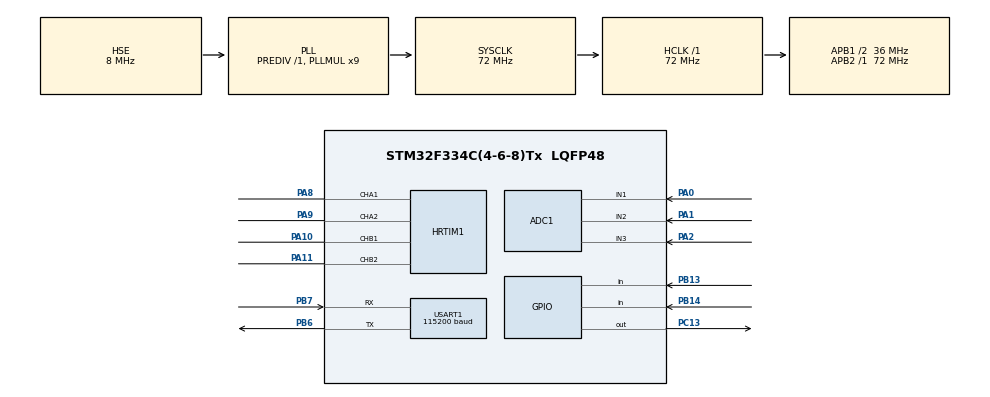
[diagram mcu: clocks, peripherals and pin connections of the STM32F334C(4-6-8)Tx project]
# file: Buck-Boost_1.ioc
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ADC1.Channel-0\#ChannelRegularConversion=ADC_CHANNEL_1
ADC1.Channel-1\#ChannelRegularConversion=ADC_CHANNEL_2
ADC1.Channel-2\#ChannelRegularConversion=ADC_CHANNEL_3
ADC1.ContinuousConvMode=ENABLE
ADC1.DMAContinuousRequests=ENABLE
ADC1.NbrOfConversion=3
ADC1.NbrOfConversionFlag=1
ADC1.Offset-0\#ChannelRegularConversion=0
ADC1.Offset-1\#ChannelRegularConversion=0
ADC1.Offset-2\#ChannelRegularConversion=0
ADC1.OffsetNumber-0\#ChannelRegularConversion=ADC_OFFSET_NONE
ADC1.OffsetNumber-1\#ChannelRegularConversion=ADC_OFFSET_NONE
ADC1.OffsetNumber-2\#ChannelRegularConversion=ADC_OFFSET_NONE
ADC1.Rank-0\#ChannelRegularConversion=1
ADC1.Rank-1\#ChannelRegularConversion=2
ADC1.Rank-2\#ChannelRegularConversion=3
ADC1.SamplingTime-0\#ChannelRegularConversion=ADC_SAMPLETIME_181CYCLES_5
ADC1.SamplingTime-1\#ChannelRegularConversion=ADC_SAMPLETIME_181CYCLES_5
ADC1.SamplingTime-2\#ChannelRegularConversion=ADC_SAMPLETIME_181CYCLES_5
ADC1.SubFamily=STM32F334x8
ADC1.master=1
Dma.ADC1.0.Direction=DMA_PERIPH_TO_MEMORY
Dma.ADC1.0.Instance=DMA1_Channel1
Dma.ADC1.0.MemDataAlignment=DMA_MDATAALIGN_HALFWORD
Dma.ADC1.0.MemInc=DMA_MINC_ENABLE
Dma.ADC1.0.Mode=DMA_CIRCULAR
Dma.ADC1.0.PeriphDataAlignment=DMA_PDATAALIGN_HALFWORD
Dma.ADC1.0.PeriphInc=DMA_PINC_DISABLE
Dma.ADC1.0.Priority=DMA_PRIORITY_LOW
Dma.Request0=ADC1
Dma.Request1=USART1_RX
Dma.Request2=USART1_TX
Dma.USART1_RX.1.Direction=DMA_PERIPH_TO_MEMORY
Dma.USART1_RX.1.Instance=DMA1_Channel5
Dma.USART1_RX.1.MemDataAlignment=DMA_MDATAALIGN_BYTE
Dma.USART1_RX.1.MemInc=DMA_MINC_ENABLE
Dma.USART1_RX.1.Mode=DMA_NORMAL
Dma.USART1_RX.1.PeriphDataAlignment=DMA_PDATAALIGN_BYTE
Dma.USART1_RX.1.PeriphInc=DMA_PINC_DISABLE
Dma.USART1_RX.1.Priority=DMA_PRIORITY_LOW
Dma.USART1_TX.2.Direction=DMA_MEMORY_TO_PERIPH
Dma.USART1_TX.2.Instance=DMA1_Channel4
Dma.USART1_TX.2.MemDataAlignment=DMA_MDATAALIGN_BYTE
Dma.USART1_TX.2.MemInc=DMA_MINC_ENABLE
Dma.USART1_TX.2.Mode=DMA_NORMAL
Dma.USART1_TX.2.PeriphDataAlignment=DMA_PDATAALIGN_BYTE
Dma.USART1_TX.2.PeriphInc=DMA_PINC_DISABLE
Dma.USART1_TX.2.Priority=DMA_PRIORITY_LOW
HRTIM1.CompareUnit1-MasterTimer=HRTIM_COMPAREUNIT_1
HRTIM1.CompareUnit1-Output_TA1TA2=HRTIM_COMPAREUNIT_1
HRTIM1.CompareUnit1-Output_TB1TB2=HRTIM_COMPAREUNIT_1
HRTIM1.CompareUnit2-MasterTimer=__NULL
HRTIM1.CompareUnit2-Output_TB1TB2=__NULL
HRTIM1.CompareUnit3-MasterTimer=__NULL
HRTIM1.CompareValue1-MasterTimer=28800
HRTIM1.CompareValue1-Output_TA1TA2=28800
HRTIM1.CompareValue1-Output_TB1TB2=28800
HRTIM1.DeadTimeInsertion-Output_TA1TA2=HRTIM_TIMDEADTIMEINSERTION_ENABLED
HRTIM1.DeadTimeInsertion-Output_TB1TB2=HRTIM_TIMDEADTIMEINSERTION_ENABLED
HRTIM1.FallingSign-Output_TB1TB2=HRTIM_TIMDEADTIME_FALLINGSIGN_POSITIVE
HRTIM1.FallingValue-Output_TA1TA2=250
HRTIM1.FallingValue-Output_TB1TB2=250
HRTIM1.NumberResetSource1-Output_TA1TA2=1
HRTIM1.NumberResetSource1-Output_TB1TB2=1
HRTIM1.NumberResetTrigger-Output_TA1TA2=1
HRTIM1.NumberResetTrigger-Output_TB1TB2=1
HRTIM1.NumberSetSource1-Output_TA1TA2=1
HRTIM1.NumberSetSource1-Output_TB1TB2=1
HRTIM1.Periode_MASTER=57600
HRTIM1.Periode_TA=57600
HRTIM1.Periode_TB=57600
HRTIM1.Polarity1-Output_TA1TA2=HRTIM_OUTPUTPOLARITY_HIGH
HRTIM1.Polarity1-Output_TB1TB2=HRTIM_OUTPUTPOLARITY_HIGH
HRTIM1.Polarity2-Output_TA1TA2=HRTIM_OUTPUTPOLARITY_HIGH
HRTIM1.Polarity2-Output_TB1TB2=HRTIM_OUTPUTPOLARITY_HIGH
HRTIM1.PreloadEnable-MasterTimer=HRTIM_PRELOAD_ENABLED
HRTIM1.PreloadEnable-Output_TA1TA2=HRTIM_PRELOAD_ENABLED
HRTIM1.PreloadEnable-Output_TB1TB2=HRTIM_PRELOAD_ENABLED
HRTIM1.PrescalerDead-Output_TB1TB2=HRTIM_TIMDEADTIME_PRESCALERRATIO_MUL8
HRTIM1.PrescalerRatio_MASTER=HRTIM_PRESCALERRATIO_MUL16
HRTIM1.PrescalerRatio_TA=HRTIM_PRESCALERRATIO_MUL16
HRTIM1.PrescalerRatio_TB=HRTIM_PRESCALERRATIO_MUL16
HRTIM1.RepetitionUpdate-MasterTimer=HRTIM_UPDATEONREPETITION_ENABLED
HRTIM1.RepetitionUpdate-Output_TA1TA2=HRTIM_UPDATEONREPETITION_ENABLED
HRTIM1.RepetitionUpdate-Output_TB1TB2=HRTIM_UPDATEONREPETITION_ENABLED
HRTIM1.ResetOutput1_Source1-Output_TA1TA2=HRTIM_OUTPUTRESET_TIMCMP1
HRTIM1.ResetOutput1_Source1-Output_TB1TB2=HRTIM_OUTPUTRESET_TIMCMP1
HRTIM1.ResetTrigger1-Output_TA1TA2=HRTIM_TIMRESETTRIGGER_MASTER_PER
HRTIM1.ResetTrigger1-Output_TB1TB2=HRTIM_TIMRESETTRIGGER_MASTER_CMP1
HRTIM1.RisingSign-Output_TB1TB2=HRTIM_TIMDEADTIME_RISINGSIGN_POSITIVE
HRTIM1.RisingValue-Output_TA1TA2=250
HRTIM1.RisingValue-Output_TB1TB2=250
HRTIM1.SetOutput1_Source1-Output_TA1TA2=HRTIM_OUTPUTSET_TIMPER
HRTIM1.SetOutput1_Source1-Output_TB1TB2=HRTIM_OUTPUTSET_TIMPER
Mcu.Family=STM32F3
Mcu.Name=STM32F334C(4-6-8)Tx
Mcu.Package=LQFP48
NVIC.DMA1_Channel1_IRQn=true\:0\:0\:false\:false\:true\:false\:true\:true
NVIC.DMA1_Channel4_IRQn=true\:0\:0\:false\:false\:true\:false\:true\:true
NVIC.DMA1_Channel5_IRQn=true\:0\:0\:false\:false\:true\:false\:true\:true
NVIC.PriorityGroup=NVIC_PRIORITYGROUP_4
NVIC.TIM3_IRQn=true\:0\:0\:false\:false\:true\:true\:true\:true
NVIC.USART1_IRQn=true\:0\:0\:false\:false\:true\:true\:true\:true
PA0.Mode=IN1-Single-Ended
PA0.Signal=ADC1_IN1
PA1.Mode=IN2-Single-Ended
PA1.Signal=ADC1_IN2
PA10.Mode=Output_TB1TB2
PA10.Signal=HRTIM1_CHB1
PA11.Mode=Output_TB1TB2
PA11.Signal=HRTIM1_CHB2
PA13.Mode=Serial_Wire
PA13.Signal=SYS_JTMS-SWDIO
PA14.Mode=Serial_Wire
PA14.Signal=SYS_JTCK-SWCLK
PA2.Mode=IN3-Single-Ended
PA2.Signal=ADC1_IN3
PA8.Mode=Output_TA1TA2
PA8.Signal=HRTIM1_CHA1
PA9.Mode=Output_TA1TA2
PA9.Signal=HRTIM1_CHA2
PB13.GPIO_PuPd=GPIO_PULLUP
PB13.Signal=GPIO_Input
PB14.GPIO_PuPd=GPIO_PULLUP
PB14.Signal=GPIO_Input
PB6.Mode=Asynchronous
PB6.Signal=USART1_TX
PB7.Mode=Asynchronous
PB7.Signal=USART1_RX
PC13.Signal=GPIO_Output
PF0\ /\ OSC_IN.Mode=HSE-External-Oscillator
PF0\ /\ OSC_IN.Signal=RCC_OSC_IN
PF1\ /\ OSC_OUT.Mode=HSE-External-Oscillator
PF1\ /\ OSC_OUT.Signal=RCC_OSC_OUT
ProjectManager.HeapSize=0x200
ProjectManager.StackSize=0x400
ProjectManager.TargetToolchain=MDK-ARM V5.32
RCC.AHBFreq_Value=72000000
RCC.APB1CLKDivider=RCC_HCLK_DIV2
RCC.APB1Freq_Value=36000000
RCC.APB1TimFreq_Value=72000000
RCC.APB2Freq_Value=72000000
RCC.APB2TimFreq_Value=72000000
RCC.CortexFreq_Value=72000000
RCC.HCLKFreq_Value=72000000
RCC.HRTIMSelection=RCC_HRTIM1CLK_PLLCLK
RCC.HSE_VALUE=8000000
RCC.HSI_VALUE=8000000
RCC.LSE_VALUE=32768
RCC.PLLMUL=RCC_PLL_MUL9
RCC.PLLSourceVirtual=RCC_PLLSOURCE_HSE
RCC.SYSCLKFreq_VALUE=72000000
RCC.SYSCLKSourceVirtual=RCC_SYSCLKSOURCE_PLLCLK
TIM3.AutoReloadPreload=TIM_AUTORELOAD_PRELOAD_ENABLE
TIM3.Period=50-1
TIM3.Prescaler=72-1
USART1.BaudRate=115200
USART1.VirtualMode-Asynchronous=VM_ASYNC
VP_HRTIM1_VS_hrtimMasterTimerNoOutput.Mode=MasterTimer
VP_TIM3_VS_ClockSourceINT.Mode=Internal
board=custom

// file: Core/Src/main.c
/* USER CODE BEGIN Header */
/**
  ******************************************************************************
  * @file           : main.c
  * @brief          : Main program body
  ******************************************************************************
  * @attention
  *
  * Copyright (c) 2024 STMicroelectronics.
  * All rights reserved.
  *
  * This software is licensed under terms that can be found in the LICENSE file
  * in the root directory of this software component.
  * If no LICENSE file comes with this software, it is provided AS-IS.
  *
  ******************************************************************************
  */
/* USER CODE END Header */
#include "main.h"
#include "adc.h"
#include "dma.h"
#include "hrtim.h"
#include "tim.h"
#include "usart.h"
#include "gpio.h"

/* USER CODE BEGIN Includes */
#include "PID.h"
#include "Serial.h"
/* USER CODE END Includes */

/* USER CODE BEGIN PD */
#define HRTIM1_MASTER_TIMER_PERIOD 57600
#define PHASE_SHIFT 28800
#define MAX_VOLTAGE ((float)42.3)
#define BASE_VOLTAGE ((float)18.5)

//#define VOLTAGE_OUT_LINEAR_A (0.0033305570987640057)
//#define VOLTAGE_OUT_LINEAR_B (0.21870843158769424)
//#define CURRENT_2_LINEAR_A (0.002148731754303638)
//#define CURRENT_2_LINEAR_B (0.8282249499864162)
//#define CURRENT_OUT_LINEAR_A (0.0023269263294578508)
//#define CURRENT_OUT_LINEAR_B (0.8598060985656532)

#define VOLTAGE_OUT_LINEAR_A (0.0033390484323447918)
#define VOLTAGE_OUT_LINEAR_B (-0.000005710205944235251)
//#define CURRENT_2_LINEAR_A (0.0007692307692307692)
//#define CURRENT_2_LINEAR_B (0.03307692307692306)
//#define CURRENT_OUT_LINEAR_A (0.0011830985915492914)
//#define CURRENT_OUT_LINEAR_B (-0.020507042253516072)

#define CURRENT_2_LINEAR_A (0.0008108108108108107)
#define CURRENT_2_LINEAR_B (0.037027027027027204)
#define CURRENT_OUT_LINEAR_A (0.001215226939970718)
#define CURRENT_OUT_LINEAR_B (-0.012035139092241076)

#define CURRENT_ADC_FILTER 5
/* USER CODE END PD */

/* USER CODE BEGIN PV */
extern uint8_t RX_Data[6];		//RX_Data [3:0]=Data [4]=AddressNumber [5]=Flag=0xAF
extern float * RX_Addr[7];
PID pid_voltage, pid_current;
extern Serial_TX_Buffer_Typedef Serial_TX_Buffer;
//extern Serial_RX_Buffer_Typedef Serial_RX_Buffer;		//not used
uint16_t ADC_Buffer[3];
float duty1, duty2;
float Voltage_Out_Set = 8;
float ctrl_1 = 8;
float ctrl_2 = 8;
float Voltage_Out;
float Current_Out, Current_1, Current_2;
float Current_2_Set;
uint8_t mode;
float mode_f;

/*
mode = 0: voltage PID adjust
mode = 1: current PID adjust
*/
uint8_t mode_changed_flag;

float Current_Ratio = 1;

uint32_t Pin13_Pressed_Counter;
uint8_t Pin13_Pressed;
uint32_t Pin14_Pressed_Counter;
uint8_t Pin14_Pressed;

uint16_t pid_counter;
uint32_t delay_counter=0x4FFFFF;
uint32_t timer_counter;

/* USER CODE END PV */

void SystemClock_Config(void);

int main(void)
{

  /* MCU Configuration--------------------------------------------------------*/

  /* Reset of all peripherals, Initializes the Flash interface and the Systick. */
  HAL_Init();

  /* Configure the system clock */
  SystemClock_Config();

  /* Initialize all configured peripherals */
  MX_GPIO_Init();
  MX_DMA_Init();
  MX_HRTIM1_Init();
  MX_ADC1_Init();
  MX_TIM3_Init();
  MX_USART1_UART_Init();
  /* USER CODE BEGIN 2 */

	HAL_ADCEx_Calibration_Start(&hadc1, ADC_SINGLE_ENDED);
	HAL_Delay(200);
	HAL_ADC_Start_DMA(&hadc1,(uint32_t *)ADC_Buffer,sizeof(uint16_t)*3);

	RX_Addr[0] = &Current_Ratio;
	RX_Addr[1] = &(pid_voltage.kp);
	RX_Addr[2] = &(pid_voltage.ki);
	RX_Addr[3] = &(pid_voltage.kd);
	RX_Addr[4] = &mode_f;
	RX_Addr[5] = &Voltage_Out_Set;

	pid_voltage.kp=0.04;
	pid_voltage.ki=0;
	pid_voltage.kd=0.12;
	pid_voltage.max_integral=MAX_VOLTAGE;
	pid_voltage.max_output=MAX_VOLTAGE;

	pid_current.kp=0.06;
	pid_current.ki=0;
	pid_current.kd=0.04;
	pid_current.max_integral=MAX_VOLTAGE;
	pid_current.max_output=MAX_VOLTAGE;

	for(;delay_counter;delay_counter--);

	HAL_UARTEx_ReceiveToIdle_DMA(&huart1, RX_Data, 6);

	HAL_HRTIM_WaveformCounterStart(&hhrtim1, HRTIM_TIMERID_MASTER | HRTIM_TIMERID_TIMER_A | HRTIM_TIMERID_TIMER_B);
	HAL_HRTIM_WaveformOutputStart(&hhrtim1, HRTIM_OUTPUT_TA1 | HRTIM_OUTPUT_TA2 | HRTIM_OUTPUT_TB1 | HRTIM_OUTPUT_TB2);

	__HAL_HRTIM_SETCOMPARE(&hhrtim1, HRTIM_TIMERINDEX_MASTER, HRTIM_COMPAREUNIT_1, PHASE_SHIFT);
	__HAL_HRTIM_SETCOMPARE(&hhrtim1, HRTIM_TIMERINDEX_TIMER_A, HRTIM_COMPAREUNIT_1, 14400);
	__HAL_HRTIM_SETCOMPARE(&hhrtim1, HRTIM_TIMERINDEX_TIMER_B, HRTIM_COMPAREUNIT_1, 14400);

	HAL_TIM_Base_Start_IT(&htim3);

  /* USER CODE END 2 */

  /* Infinite loop */
  /* USER CODE BEGIN WHILE */
  while (1)
  {

		if(!HAL_GPIO_ReadPin(GPIOB, GPIO_PIN_13) && !Pin13_Pressed)
		{
			if(Pin13_Pressed_Counter==10000)
			{
				Current_Ratio += 0.5f;
				LIMIT(Current_Ratio,0.5f,2);

				Pin13_Pressed = 1;
			}
			else
				Pin13_Pressed_Counter++;
		}
		if(HAL_GPIO_ReadPin(GPIOB, GPIO_PIN_13))
		{
			if(Pin13_Pressed && Pin13_Pressed_Counter)
				Pin13_Pressed_Counter--;
			if(Pin13_Pressed && !Pin13_Pressed_Counter)
				Pin13_Pressed = 0;
		}

		if(!HAL_GPIO_ReadPin(GPIOB, GPIO_PIN_14) && !Pin14_Pressed)
		{
			if(Pin14_Pressed_Counter==10000)
			{
				Current_Ratio -= 0.5f;
				LIMIT(Current_Ratio,0.5f,2);

				Pin14_Pressed = 1;
			}
			else
				Pin14_Pressed_Counter++;
		}
		if(HAL_GPIO_ReadPin(GPIOB, GPIO_PIN_14))
		{
			if(Pin14_Pressed && Pin14_Pressed_Counter)
				Pin14_Pressed_Counter--;
			if(Pin14_Pressed && !Pin14_Pressed_Counter)
				Pin14_Pressed = 0;
		}

    /* USER CODE END WHILE */

  }
}

void SystemClock_Config(void)
{
  RCC_OscInitTypeDef RCC_OscInitStruct = {0};
  RCC_ClkInitTypeDef RCC_ClkInitStruct = {0};
  RCC_PeriphCLKInitTypeDef PeriphClkInit = {0};

  /** Initializes the RCC Oscillators according to the specified parameters
  * in the RCC_OscInitTypeDef structure.
  */
  RCC_OscInitStruct.OscillatorType = RCC_OSCILLATORTYPE_HSE;
  RCC_OscInitStruct.HSEState = RCC_HSE_ON;
  RCC_OscInitStruct.HSEPredivValue = RCC_HSE_PREDIV_DIV1;
  RCC_OscInitStruct.HSIState = RCC_HSI_ON;
  RCC_OscInitStruct.PLL.PLLState = RCC_PLL_ON;
  RCC_OscInitStruct.PLL.PLLSource = RCC_PLLSOURCE_HSE;
  RCC_OscInitStruct.PLL.PLLMUL = RCC_PLL_MUL9;
  if (HAL_RCC_OscConfig(&RCC_OscInitStruct) != HAL_OK)
  {
    Error_Handler();
  }

  /** Initializes the CPU, AHB and APB buses clocks
  */
  RCC_ClkInitStruct.ClockType = RCC_CLOCKTYPE_HCLK|RCC_CLOCKTYPE_SYSCLK
                              |RCC_CLOCKTYPE_PCLK1|RCC_CLOCKTYPE_PCLK2;
  RCC_ClkInitStruct.SYSCLKSource = RCC_SYSCLKSOURCE_PLLCLK;
  RCC_ClkInitStruct.AHBCLKDivider = RCC_SYSCLK_DIV1;
  RCC_ClkInitStruct.APB1CLKDivider = RCC_HCLK_DIV2;
  RCC_ClkInitStruct.APB2CLKDivider = RCC_HCLK_DIV1;

  if (HAL_RCC_ClockConfig(&RCC_ClkInitStruct, FLASH_LATENCY_2) != HAL_OK)
  {
    Error_Handler();
  }
  PeriphClkInit.PeriphClockSelection = RCC_PERIPHCLK_HRTIM1|RCC_PERIPHCLK_USART1
                              |RCC_PERIPHCLK_ADC12;
  PeriphClkInit.Usart1ClockSelection = RCC_USART1CLKSOURCE_PCLK1;
  PeriphClkInit.Adc12ClockSelection = RCC_ADC12PLLCLK_DIV1;
  PeriphClkInit.Hrtim1ClockSelection = RCC_HRTIM1CLK_PLLCLK;
  if (HAL_RCCEx_PeriphCLKConfig(&PeriphClkInit) != HAL_OK)
  {
    Error_Handler();
  }
}

/* USER CODE BEGIN 4 */
void HAL_TIM_PeriodElapsedCallback(TIM_HandleTypeDef *htim)
{
	static uint16_t Tx_Counter;
	static uint16_t Current_ADC_Filter_Counter;
	static uint32_t Current_Out_ADC_Buffer, Current_2_ADC_Buffer;
	static uint8_t sample_flag;
	if(timer_counter==1)
		HAL_HRTIM_WaveformOutputStart(&hhrtim1, HRTIM_OUTPUT_TA1 | HRTIM_OUTPUT_TA2 | HRTIM_OUTPUT_TB1 | HRTIM_OUTPUT_TB2);
	if(timer_counter)
			timer_counter--;
	if((htim->Instance == TIM3) && !timer_counter)
	{
		HAL_GPIO_WritePin(GPIOC, GPIO_PIN_13, GPIO_PIN_SET);

		if(mode != (int)mode_f)
		{
			mode = mode_f;
			mode_changed_flag = 1;
			pid_voltage.integral = 0;
			pid_current.integral = 0;

			if(mode == 0)
			{
				RX_Addr[1] = &(pid_voltage.kp);
				RX_Addr[2] = &(pid_voltage.ki);
				RX_Addr[3] = &(pid_voltage.kd);
			}
			if(mode == 1)
			{
				RX_Addr[1] = &(pid_current.kp);
				RX_Addr[2] = &(pid_current.ki);
				RX_Addr[3] = &(pid_current.kd);
			}
		}

			Voltage_Out = ADC_Buffer[1] * VOLTAGE_OUT_LINEAR_A + VOLTAGE_OUT_LINEAR_B;

			Current_Out_ADC_Buffer += ADC_Buffer[2];
			Current_2_ADC_Buffer += ADC_Buffer[0];
			Current_ADC_Filter_Counter++;
			if(Current_ADC_Filter_Counter == CURRENT_ADC_FILTER)
			{
				Current_ADC_Filter_Counter = 0;
				Current_Out = (float)Current_Out_ADC_Buffer / CURRENT_ADC_FILTER * CURRENT_OUT_LINEAR_A + CURRENT_OUT_LINEAR_B;
				Current_2 = (float)Current_2_ADC_Buffer / CURRENT_ADC_FILTER * CURRENT_2_LINEAR_A + CURRENT_2_LINEAR_B;

				Current_Out_ADC_Buffer = 0;
				Current_2_ADC_Buffer = 0;
			}
			if(Current_Out >= 4.5)
			{
				HAL_HRTIM_WaveformOutputStop(&hhrtim1, HRTIM_OUTPUT_TA1 | HRTIM_OUTPUT_TA2 | HRTIM_OUTPUT_TB1 | HRTIM_OUTPUT_TB2);

				ctrl_1 = 0;
				ctrl_2 = 0;
				pid_voltage.integral = 0;
				pid_current.integral = 0;

				timer_counter=2000;
			}

			Current_1 = Current_Out - Current_2;

		pid_counter++;
		if(pid_counter==50)
		{
			pid_counter=0;
			if(mode == 0 || mode == 1)
			{
				LIMIT(Current_Ratio,0.5f,5);
				Current_2_Set = Current_1 * Current_Ratio;

				if(mode_changed_flag)
				{
					pid_voltage.last_error =	Voltage_Out_Set - Voltage_Out;
					pid_current.last_error =	Current_2_Set - Current_2;
					mode_changed_flag = 0;
				}

				if(!sample_flag)
				{
					PID_Calc(&pid_voltage, Voltage_Out_Set - Voltage_Out);
					ctrl_1 += pid_voltage.output;
				}
				else
				{
					PID_Calc(&pid_current, Current_2_Set - Current_2);
					ctrl_2 += pid_current.output;
				}

				LIMIT(ctrl_1, 0.5f, 2*MAX_VOLTAGE);
				LIMIT(ctrl_2, 0.5f, 2*MAX_VOLTAGE);

				sample_flag = !sample_flag;
			}
		}

		duty1 = ctrl_1 / BASE_VOLTAGE;
		duty2 = ctrl_2 / BASE_VOLTAGE;
		LIMIT(duty1, 0.05f, 0.95f);
		LIMIT(duty2, 0.05f, 0.95f);

		__HAL_HRTIM_SETCOMPARE(&hhrtim1, HRTIM_TIMERINDEX_TIMER_A, HRTIM_COMPAREUNIT_1, duty1*HRTIM1_MASTER_TIMER_PERIOD);
		__HAL_HRTIM_SETCOMPARE(&hhrtim1, HRTIM_TIMERINDEX_TIMER_B, HRTIM_COMPAREUNIT_1, duty2*HRTIM1_MASTER_TIMER_PERIOD);

		Tx_Counter++;
		if(Tx_Counter==300)
		{
			Tx_Counter=0;

			if(mode == 0)
			{
				Serial_TX_Buffer.TX_Data[0] = Voltage_Out;
				Serial_TX_Buffer.TX_Data[1] = Current_Out;
				Serial_TX_Buffer.TX_Data[2] = Current_2;
				Serial_TX_Buffer.TX_Data[3] = Current_1;
//				Serial_TX_Buffer.TX_Data[1] = ADC_Buffer[1];
//				Serial_TX_Buffer.TX_Data[2] = ADC_Buffer[2];
//				Serial_TX_Buffer.TX_Data[3] = ADC_Buffer[0];
			}
			if(mode == 1)
			{
				Serial_TX_Buffer.TX_Data[0] = Voltage_Out;
				Serial_TX_Buffer.TX_Data[1] = Current_2_Set;
				Serial_TX_Buffer.TX_Data[2] = Current_2;
				Serial_TX_Buffer.TX_Data[3] = ctrl_2;
			}

			HAL_UART_Transmit_DMA(&huart1,(uint8_t *)&Serial_TX_Buffer,sizeof(Serial_TX_Buffer));
		}

		HAL_GPIO_WritePin(GPIOC, GPIO_PIN_13, GPIO_PIN_RESET);
	}
}

/* USER CODE END 4 */

void Error_Handler(void)
{
  __disable_irq();
  while (1)
  {
  }
}
